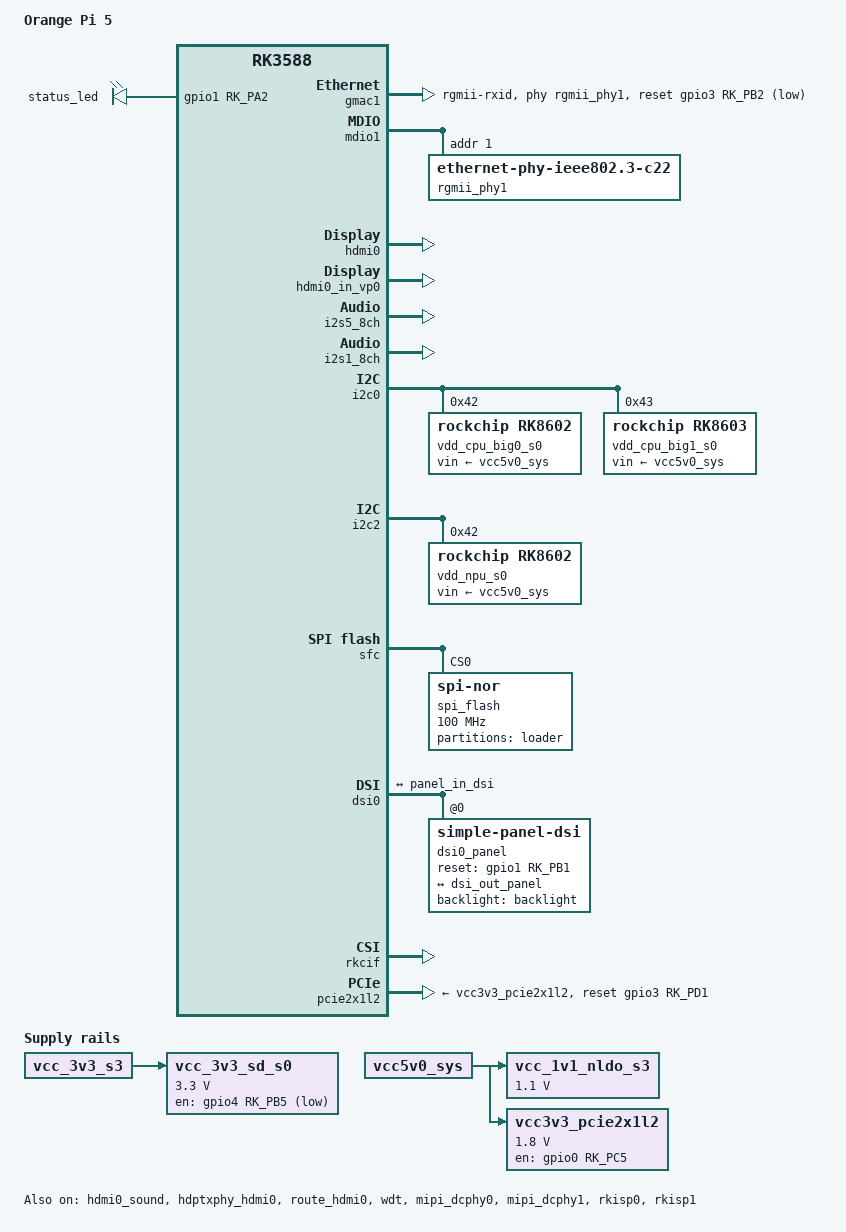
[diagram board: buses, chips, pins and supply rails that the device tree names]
// SPDX-License-Identifier: (GPL-2.0+ OR MIT)
/*
 * Copyright (c) 2021 Rockchip Electronics Co., Ltd.
 *
 */
// copied from rk3588s-orangepi-5.dts, mipi part from rk3588s-tablet-12c.dtsi
// add support for MIPI display that is connected to mipi_dcphy0
/dts-v1/;

#include "rk3588s-orangepi-5.dtsi"
#include "rk3588-linux.dtsi"
#include "rk3588s-orangepi-5-lcd.dtsi"

#include "rk3588s-orangepi-5-camera1.dtsi"
#include "rk3588s-orangepi-5-camera2.dtsi"
#include "rk3588s-orangepi-5-camera3.dtsi"

/ {
	model = "Orange Pi 5";
	compatible = "rockchip,rk3588s-orangepi-5", "rockchip,rk3588";

	/delete-node/ chosen;

	vcc_3v3_sd_s0: vcc-3v3-sd-s0 {
		compatible = "regulator-fixed";
		regulator-name = "vcc_3v3_sd_s0";
		regulator-min-microvolt = <3300000>;
		regulator-max-microvolt = <3300000>;
		gpios = <&gpio4 RK_PB5 GPIO_ACTIVE_LOW>;
		enable-active-low;
		vin-supply = <&vcc_3v3_s3>;
		regulator-state-mem {
			regulator-off-in-suspend;
		};
	};

	vcc_1v1_nldo_s3: vcc-1v1-nldo-s3 {
		compatible = "regulator-fixed";
		regulator-name = "vcc_1v1_nldo_s3";
		regulator-always-on;
		regulator-boot-on;
		regulator-min-microvolt = <1100000>;
		regulator-max-microvolt = <1100000>;
		vin-supply = <&vcc5v0_sys>;
	};

	vcc3v3_pcie2x1l2: vcc3v3-pcie2x1l2 {
		compatible = "regulator-fixed";
		regulator-name = "vcc3v3_pcie2x1l2";
		regulator-min-microvolt = <1800000>;
		regulator-max-microvolt = <1800000>;
		enable-active-high;
		regulator-boot-on;
		regulator-always-on;
		gpios = <&gpio0 RK_PC5 GPIO_ACTIVE_HIGH>;
		startup-delay-us = <50000>;
		vin-supply = <&vcc5v0_sys>;
	};

	leds: gpio-leds {
		compatible = "gpio-leds";
		pinctrl-names = "default";
		pinctrl-0 =<&leds_gpio>;
		status = "okay";

		led@1 {
			gpios = <&gpio1 RK_PA2 GPIO_ACTIVE_HIGH>;
			label = "status_led";
			linux,default-trigger = "heartbeat";
			linux,default-trigger-delay-ms = <0>;
		};
	};

	/* If hdmirx node is disabled, delete the reserved-memory node here. */
	reserved-memory {
		#address-cells = <2>;
		#size-cells = <2>;
		ranges;

		/* Reserve 256MB memory for hdmirx-controller@fdee0000 */
		cma {
			compatible = "shared-dma-pool";
			reusable;
			reg = <0x0 (256 * 0x100000) 0x0 (256 * 0x100000)>;
			linux,cma-default;
		};
	};
};

&gmac1 {
	/* Use rgmii-rxid mode to disable rx delay inside Soc */
	phy-mode = "rgmii-rxid";
	clock_in_out = "output";

	snps,reset-gpio = <&gpio3 RK_PB2 GPIO_ACTIVE_LOW>;
	snps,reset-active-low;
	/* Reset time is 20ms, 100ms for rtl8211f */
	snps,reset-delays-us = <0 20000 100000>;

	pinctrl-names = "default";
	pinctrl-0 = <&gmac1_miim
	             &gmac1_tx_bus2
	             &gmac1_rx_bus2
	             &gmac1_rgmii_clk
	             &gmac1_rgmii_bus>;

	tx_delay = <0x42>;
	/* rx_delay = <0x3f>; */

	phy-handle = <&rgmii_phy1>;
	status = "okay";
};

&mdio1 {
	rgmii_phy1: phy@1 {
		compatible = "ethernet-phy-ieee802.3-c22";
		reg = <0x1>;
	};
};

&hdmi0 {
	enable-gpios = <&gpio4 RK_PB6 GPIO_ACTIVE_HIGH>;
	cec-enable;
	status = "okay";
};

&hdmi0_in_vp0 {
	status = "okay";
};

&hdmi0_sound {
	status = "okay";
};

&hdptxphy_hdmi0 {
	status = "okay";
};

&route_hdmi0{
	status = "okay";
};

&i2s5_8ch {
	status = "okay";
};

&i2s1_8ch {
	status = "okay";
	rockchip,i2s-tx-route = <3 2 1 0>;
	rockchip,i2s-rx-route = <1 3 2 0>;
	pinctrl-names = "default";
	pinctrl-0 = <&i2s1m0_sclk
	             &i2s1m0_lrck
	             &i2s1m0_sdi1
	             &i2s1m0_sdo3>;
};

&i2c0 {
	status = "okay";
	pinctrl-names = "default";
	pinctrl-0 = <&i2c0m2_xfer>;

	vdd_cpu_big0_s0: vdd_cpu_big0_mem_s0: rk8602@42 {
		compatible = "rockchip,rk8602";
		reg = <0x42>;
		vin-supply = <&vcc5v0_sys>;
		regulator-compatible = "rk860x-reg";
		regulator-name = "vdd_cpu_big0_s0";
		regulator-min-microvolt = <550000>;
		regulator-max-microvolt = <1050000>;
		regulator-ramp-delay = <2300>;
		rockchip,suspend-voltage-selector = <1>;
		regulator-boot-on;
		regulator-always-on;
		regulator-state-mem {
			regulator-off-in-suspend;
		};
	};

	vdd_cpu_big1_s0: vdd_cpu_big1_mem_s0: rk8603@43 {
		compatible = "rockchip,rk8603";
		reg = <0x43>;
		vin-supply = <&vcc5v0_sys>;
		regulator-compatible = "rk860x-reg";
		regulator-name = "vdd_cpu_big1_s0";
		regulator-min-microvolt = <550000>;
		regulator-max-microvolt = <1050000>;
		regulator-ramp-delay = <2300>;
		rockchip,suspend-voltage-selector = <1>;
		regulator-boot-on;
		regulator-always-on;
		regulator-state-mem {
			regulator-off-in-suspend;
		};
	};
};

&i2c2 {
	status = "okay";

	vdd_npu_s0: vdd_npu_mem_s0: rk8602@42 {
		compatible = "rockchip,rk8602";
		reg = <0x42>;
		vin-supply = <&vcc5v0_sys>;
		regulator-compatible = "rk860x-reg";
		regulator-name = "vdd_npu_s0";
		regulator-min-microvolt = <550000>;
		regulator-max-microvolt = <950000>;
		regulator-ramp-delay = <2300>;
		rockchip,suspend-voltage-selector = <1>;
		regulator-boot-on;
		regulator-always-on;
		regulator-state-mem {
			regulator-off-in-suspend;
		};
	};
};

/*
   pin3: GPIO1_B7
   pin5: GPIO1_B6
*/
&i2c5 {
	status = "disabled";
	pinctrl-names = "default";
	pinctrl-0 = <&i2c5m3_xfer>;
};

&uart1 {
	status = "disabled";
	pinctrl-names = "default";
	pinctrl-0 = <&uart1m1_xfer>;
};

&pwm13 {
	status = "disabled";
	pinctrl-names = "active";
	pinctrl-0 = <&pwm13m2_pins>;
};

/*
   pin7: GPIO1_C6
*/
&pwm15 {
	status = "disabled";
	pinctrl-names = "active";
	pinctrl-0 = <&pwm15m2_pins>;
};

/*
   pin11: GPIO4_B2
   pin13: GPIO4_B3
*/
&pwm14 {
	status = "disabled";
	pinctrl-names = "active";
	pinctrl-0 = <&pwm14m1_pins>;
};

&can1 {
	status = "disabled";
	pinctrl-names = "default";
	pinctrl-0 = <&can1m1_pins>;
	assigned-clocks = <&cru CLK_CAN1>;
	assigned-clock-rates = <200000000>;
};

/*
   pin15: GPIO0_D4
   pin12: GPIO0_D5
*/
&can2 {
	status = "disabled";
	pinctrl-names = "default";
	pinctrl-0 = <&can2m1_pins>;
	assigned-clocks = <&cru CLK_CAN2>;
	assigned-clock-rates = <200000000>;
};

/*
   pin19: GPIO1_C1
   pin21: GPIO1_C0
   pin23: GPIO1_C2
   pin24: GPIO1_C4
*/
&spi4 {
	status = "disabled";
	pinctrl-names = "default";
	pinctrl-0 = <&spi4m0_cs1 &spi4m0_pins>;
	assigned-clocks = <&cru CLK_SPI4>;
	assigned-clock-rates = <200000000>;
	num-cs = <2>;

	spi_dev@1 {
		compatible = "rockchip,spidev";
		reg = <1>;
		spi-max-frequency = <50000000>;
	};
};

&i2c3 {
	status = "disabled";
	pinctrl-names = "default";
	pinctrl-0 = <&i2c3m0_xfer>;
};

&uart3 {
	status = "disabled";
	pinctrl-names = "default";
	pinctrl-0 = <&uart3m0_xfer>;
};

&pwm3 {
	status = "disabled";
	pinctrl-names = "active";
	pinctrl-0 = <&pwm3m2_pins>;
	//pinctrl-0 = <&pwm3m0_pins>;
};

/*
   pin8:  GPIO4_A3
   pin10: GPIO4_A4
*/
&uart0 {
	status = "disabled";
	pinctrl-names = "default";
	pinctrl-0 = <&uart0m2_xfer>;
};

/*
   pin16: GPIO1_D3
   pin18: GPIO1_D2
*/
&uart4 {
	status = "disabled";
	pinctrl-names = "default";
	pinctrl-0 = <&uart4m0_xfer>;
};

&i2c1 {
	status = "disabled";
	pinctrl-names = "default";
	//pinctrl-0 = <&i2c1m4_xfer>;
	pinctrl-0 = <&i2c1m2_xfer>;
};

&pwm0 {
	status = "disabled";
	pinctrl-names = "active";
	pinctrl-0 = <&pwm0m1_pins>;
};

/*
   pin26: GPIO1_A3
*/
&pwm1 {
	status = "disabled";
	pinctrl-names = "active";
	//pinctrl-0 = <&pwm1m2_pins>;
	pinctrl-0 = <&pwm1m1_pins>;
};

/* watchdog */
&wdt {
        status = "okay";
};

&sfc {
	status = "okay";
	max-freq = <100000000>;
	#address-cells = <1>;
	#size-cells = <0>;
	pinctrl-names = "default";
	pinctrl-0 = <&fspim0_pins>;

	spi_flash: spi-flash@0 {
		#address-cells = <1>;
		#size-cells = <0>;
		compatible = "jedec,spi-nor";
		reg = <0x0>;
		spi-max-frequency = <100000000>;
		spi-tx-bus-width = <1>;
		spi-rx-bus-width = <4>;
		status = "okay";

		partitions {
			compatible = "fixed-partitions";
			#address-cells = <1>;
			#size-cells = <1>;

			loader@0 {
				label = "loader";
				reg = <0x0 0x1000000>;
			};
		};
	};
};

// MIPI display panel PNC357
&mipi_dcphy0 {
        status = "okay";
};

&mipi_dcphy1 {
        status = "okay";
};

// MIPI display panel PNC357
/*
 * mipi_dcphy0 needs to be enabled
 * when dsi0 is enabled
 */
&dsi0 {
	status = "okay";
	rockchip,lane-rate = <676000>;
	dsi0_panel: panel@0 {
		status = "okay";
		compatible = "simple-panel-dsi";
		reg = <0>;
		backlight = <&backlight>;

		// here I commented out the vdd-supply.
		// power-supply = <&vcc_avee>;
		// reset should be the orange pi 5 reset gpio GPIO1_B1
		// reset-gpios = <&gpio3 RK_PC6 GPIO_ACTIVE_HIGH>; GPIO3_C6_u
		reset-gpios = <&gpio1 RK_PB1 GPIO_ACTIVE_HIGH>;
		reset-enable-combined;
		pinctrl-names = "default";
		// previously it was pinctrl-0 = <&lcd_rst_gpio>;
		pinctrl-0 = <&lcd0_rst_gpio>;

		reset-delay-ms = <120>;
		enable-delay-ms = <120>;
		prepare-delay-ms = <120>;
		init-delay-ms = <120>;
		unprepare-delay-ms = <120>;
		disable-delay-ms = <120>;
		compressed-data;
		dsi,flags = <(MIPI_DSI_MODE_VIDEO | MIPI_DSI_MODE_VIDEO_BURST |
				MIPI_DSI_MODE_LPM | MIPI_DSI_MODE_EOT_PACKET)>;
		dsi,format = <MIPI_DSI_FMT_RGB888>;
		dsi,lanes = <4>;

		slice-width = <1600>;
		slice-height = <40>;
		version-major = <1>;
		version-minor = <1>;
		panel-init-sequence = [
			0a 31 58 11 00 00 89 30 80 0A 00 06 40 00 28 06 40 06 40 02 00 04 21 00 20 05 D0 00 16 00 0C 02 77 00 DA 18 00 10 E0 03 0C 20 00 06 0B 0B 33 0E 1C 2A 38 46 54 62 69 70 77 79 7B 7D 7E 01 02 01 00 09 40 09 BE 19 FC 19 FA 19 F8 1A 38 1A 78 1A B6 2A F6 2B 34 2B 74 3B 74 6B 74
			39 00 06 B9 83 12 1A 55 00
			39 00 03 51 08 00
			39 00 02 53 24
			39 00 1D B1 1C 6B 6B 27 E7 00 1B 12 20 20 2D 2D 1F 33 31 40 CD FF 1A 05 15 98 00 88 F9 FF FF CF
			39 00 12 B2 00 6A 40 00 00 14 6E 40 73 02 80 21 21 00 00 10 27
			39 00 2D B4 64 00 08 7F 08 7F 00 62 01 72 01 72 00 60 00 00 0A 08 00 29 05 05 05 00 00 00 00 00 00 00 00 00 00 00 FF 00 FF 14 00 00 0F 0F 2D 2D
			39 00 04 B6 8F 8F 03
			39 00 03 BC 06 02
			39 00 07 C0 34 34 44 00 08 D8
			39 00 06 C9 00 1E 80 A5 01
			39 00 07 CB 00 13 38 00 0B 27
			39 00 02 CC 02
			39 00 02 D1 07
			39 00 29 D3 00 C0 08 08 08 04 04 04 14 02 07 07 07 31 13 12 12 12 03 03 03 32 10 11 00 11 32 10 03 00 03 32 10 03 00 03 00 00 FF 00
			39 00 31 D5 19 19 18 18 02 02 03 03 04 04 05 05 06 06 07 07 00 00 01 01 18 18 40 40 20 20 18 18 18 18 40 40 18 18 2F 2F 31 31 2F 2F 31 31 18 18 41 41 41 41
			39 00 31 D6 40 40 18 18 05 05 04 04 03 03 02 02 01 01 00 00 07 07 06 06 18 18 19 19 20 20 18 18 18 18 40 40 18 18 2F 2F 31 31 2F 2F 31 31 18 18 41 41 41 41
			39 00 40 E1 11 00 00 89 30 80 0A 00 06 40 00 28 06 40 06 40 02 00 04 21 00 20 05 D0 00 16 00 0C 02 77 00 DA 18 00 10 E0 03 0C 20 00 06 0B 0B 33 0E 1C 2A 38 46 54 62 69 70 77 79 7B 7D 7E 01 02 01 00 09
			39 00 0C E7 06 14 14 1A 23 38 00 23 5D 02 02
			39 00 02 BD 01
			39 00 04 B1 01 23 00
			39 00 25 D8 20 00 02 22 00 00 20 00 02 22 00 00 20 00 02 22 00 00 20 00 02 22 00 00 20 00 02 22 00 00 20 00 02 22 00 00
			39 00 1A E1 40 09 BE 19 FC 19 FA 19 F8 1A 38 1A 78 1A B6 2A F6 2B 34 2B 74 3B 74 6B F4
			39 00 0D E7 02 00 40 01 84 13 BE 14 48 00 04 26
			39 00 08 CB 1F 55 03 28 0D 08 0A
			39 00 02 BD 02
			39 00 0D D8 AF FF FA FA BF EA AF FF FA FA BF EA
			39 00 23 E7 01 05 01 03 01 03 04 02 02 24 00 24 81 02 40 00 29 60 03 02 01 00 00 00 00 00 00 00 00 00 00 00 00 00
			39 00 02 BD 03
			39 00 19 D8 AA AA AA AB BF EA AA AA AA AB BF EA AF FF FA FA BF EA AF FF FA FA BF EA
			39 00 03 E1 01 3F
			39 00 02 BD 00
			39 00 2F E0 00 13 30 36 40 78 8B 94 95 97 94 94 91 8F 8F 8B 8A 8C 8E A6 B7 4D 7F 00 13 30 36 40 78 8B 94 95 97 94 94 91 8F 8F 8B 8A 8C 8E A6 B7 4D 7F
			39 00 05 BA 70 03 A8 92
			39 00 25 D8 EA AA AA AE AA AF EA AA AA AE AA AF E0 00 0A 2E 80 2F E0 00 0A 2E 80 2F E0 00 0A 2E 80 2F E0 00 0A 2E 80 2F
			39 00 02 BD 00
			39 00 02 C1 01
			39 00 02 BD 01
			39 00 3B C1 00 04 08 0C 10 14 18 1C 1F 23 27 2B 2F 33 37 3B 3F 43 47 4B 52 5A 62 69 71 79 81 89 91 98 A1 A9 B1 B9 C1 CA D2 DA E3 EA F4 F8 F9 FB FD FF 16 A4 44 16 90 E7 F9 71 A0 F3 1F 40
			39 00 02 BD 02
			39 00 3B C1 00 04 08 0C 10 14 18 1C 20 24 28 2D 31 35 39 3D 41 45 49 4D 55 5D 65 6D 75 7D 85 8D 94 9C A4 AC B4 BC C4 CC D4 DC E4 EC F4 F8 FA FC FE FF 06 AA FC 5B FF FF A4 F9 86 F9 55 40
			39 00 02 BD 03
			39 00 3B C1 00 04 07 0B 0F 13 17 1B 1F 23 27 2C 30 33 38 3C 40 44 48 4C 53 5B 63 6B 72 7A 82 89 91 99 A1 A9 B1 B9 C1 C9 D1 DA E2 EA F3 F6 F9 FA FE FF 0F 9A FC 31 40 E4 FB E9 A3 D9 77 00
			39 00 02 BD 02
			39 00 02 BF 72
			39 00 02 BD 00
			39 00 08 BF FD 00 80 9C 10 00 80
			39 00 02 E9 DE
			39 00 04 B1 CC 03 00
			39 00 02 E9 3F
			39 00 07 D0 07 C0 08 03 11 00
			39 00 03 B0 00 00
			39 00 02 E9 CF
			39 00 02 BA 03
			39 00 02 E9 3F
			39 00 01 11
			39 00 01 29
		];

		panel-exit-sequence = [

		];

		width-mm = <166>;
		height-mm = <266>;
		rotation = <90>;
		bpc = <8>;

			dsi0_timing0: panel-timing {
				clock-frequency = <275000000>;
				hactive = <1600>;
				vactive = <2560>;
				hfront-porch = <60>;
				hsync-len = <20>;
				hback-porch = <20>;
				vfront-porch = <112>;
				vsync-len = <4>;
				vback-porch = <18>;
				hsync-active = <0>;
				vsync-active = <0>;
				de-active = <0>;
				pixelclk-active = <0>;
			};

		ports {
			#address-cells = <1>;
			#size-cells = <0>;

			port@0 {
				reg = <0>;
				panel_in_dsi: endpoint {
					remote-endpoint = <&dsi_out_panel>;
				};
			};
		};
	};

	ports {
		#address-cells = <1>;
		#size-cells = <0>;

		port@1 {
			reg = <1>;
			dsi_out_panel: endpoint {
				remote-endpoint = <&panel_in_dsi>;
			};
		};
	};
};
&dsi1 {
	status = "disabled";
};

// mipi end

&rkcif {
	status = "okay";
};

&rkcif_mmu {
	status = "okay";
};

&rkisp0 {
	status = "okay";
};

&isp0_mmu {
	status = "okay";
};

&rkisp1 {
	status = "okay";
};

&isp1_mmu {
	status = "okay";
};

&sata0 {
	pinctrl-names = "default";
	pinctrl-0 = <&sata_reset>;
	status = "disabled";
};

&pcie2x1l2 {
	reset-gpios = <&gpio3 RK_PD1 GPIO_ACTIVE_HIGH>;
	vpcie3v3-supply = <&vcc3v3_pcie2x1l2>;
	rockchip,skip-scan-in-resume;
	status = "okay";
};
